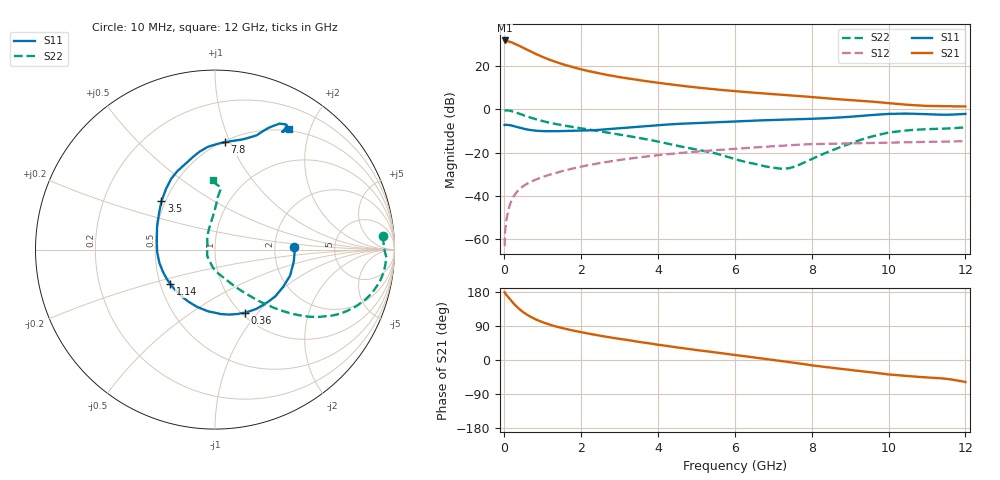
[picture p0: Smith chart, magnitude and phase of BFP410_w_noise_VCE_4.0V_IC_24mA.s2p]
! Infineon Technologies  Discrete & RF Semiconductors
! BFP410
! VCE =  4.0 V,  IC =  24 mA
! Common Emitter S-Parameters:  Nov 2015
# GHz  S  MA  R  50
!  f  S11  S21  S12  S22
! GHz  MAG  ANG  MAG  ANG  MAG  ANG  MAG  ANG
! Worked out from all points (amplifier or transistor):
!   243 points, 10 MHz to 12 GHz, reference 50 ohm
!   highest |S21| = 31.8 dB at 10 MHz (marker M1)
!   |S21| within 3 dB of that: start of sweep to 452.9 MHz
!   unconditionally stable (mu >= 1): start of sweep to 19.64 MHz; 1.773 GHz to end of sweep
!   at 240 MHz: K = 0.33, MSG = 35.4 dB, |S12| = -40.3 dB
!   at 1.84 GHz: K = 1.01, MAG = 22.4 dB, |S12| = -27.0 dB
!   at 12 GHz: K = 1.02, MAG = 7.2 dB, |S12| = -14.7 dB
!   lowest NFmin = 1.85 dB at 450 MHz
!   S11 on the Smith chart (normalised r, x): 10 MHz: 2.55, +0.10; 360 MHz: 1.04, -0.86; 1.14 GHz: 0.56, -0.24; 3.5 GHz: 0.48, +0.31; 7.8 GHz: 0.51, +0.96; 12 GHz: 0.48, +1.69
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0.01  0.4378 2.0  39.11 178.6  0.0007 75.8  0.9375 4.5
0.02  0.4436 -2.3  38.55 176.2  0.0014 75.5  0.9423 0.4
0.07  0.4417 -12.9  37.62 170.0  0.0033 78.1  0.9531 -4.5
0.1  0.4429 -19.1  37.33 166.4  0.0044 77.7  0.9499 -7.3
0.2  0.4253 -37.9  35.15 154.2  0.0083 75.3  0.9106 -15.0
0.3  0.4025 -55.2  32.28 143.2  0.0116 71.2  0.8543 -21.2
0.36  0.3886 -64.6  30.45 137.5  0.0135 69.5  0.8184 -24.3
0.5  0.3612 -84.4  26.35 125.9  0.0172 66.0  0.7376 -30.1
0.6  0.346 -96.4  23.71 118.9  0.0194 64.6  0.687 -33.1
0.7  0.3343 -107.5  21.44 113.2  0.0216 63.5  0.6422 -35.6
0.9  0.3201 -125.5  17.75 103.6  0.0256 62.4  0.5701 -39.2
1.14  0.3144 -142.6  14.5 94.8  0.0304 61.6  0.5042 -42.4
1.5  0.3155 -161.8  11.21 84.5  0.0376 60.5  0.4341 -46.0
2.02  0.3236 177.6  8.362 73.0  0.0483 58.0  0.3659 -50.1
2.6  0.3458 159.0  6.458 62.2  0.0602 54.1  0.3009 -54.7
3.5  0.4016 138.0  4.749 47.8  0.0783 47.2  0.2213 -63.1
4.1  0.4404 127.3  4.018 39.0  0.0902 42.1  0.1742 -70.5
6.1  0.5313 103.2  2.603 12.1  0.1253 24.8  0.0676 -117.9
7.8  0.6 84.8  1.999 -10.9  0.1552 8.1  0.0594 136.1
8.2  0.6182 79.5  1.87 -16.4  0.1595 3.6  0.0862 118.4
10.2  0.7952 61.6  1.35 -39.8  0.1719 -12.9  0.308 86.1
12  0.788 58.3  1.172 -57.9  0.185 -28.9  0.3856 92.0
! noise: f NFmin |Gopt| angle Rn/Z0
0.45  1.85  0.17  -160  0.18
0.9  1.85  0.2  -157  0.16
1.8  2  0.24  -139  0.19
2.4  2  0.28  -125  0.24
5.5  2.89  0.46  -101  0.5
10  4.02  0.72  -45  2.79
